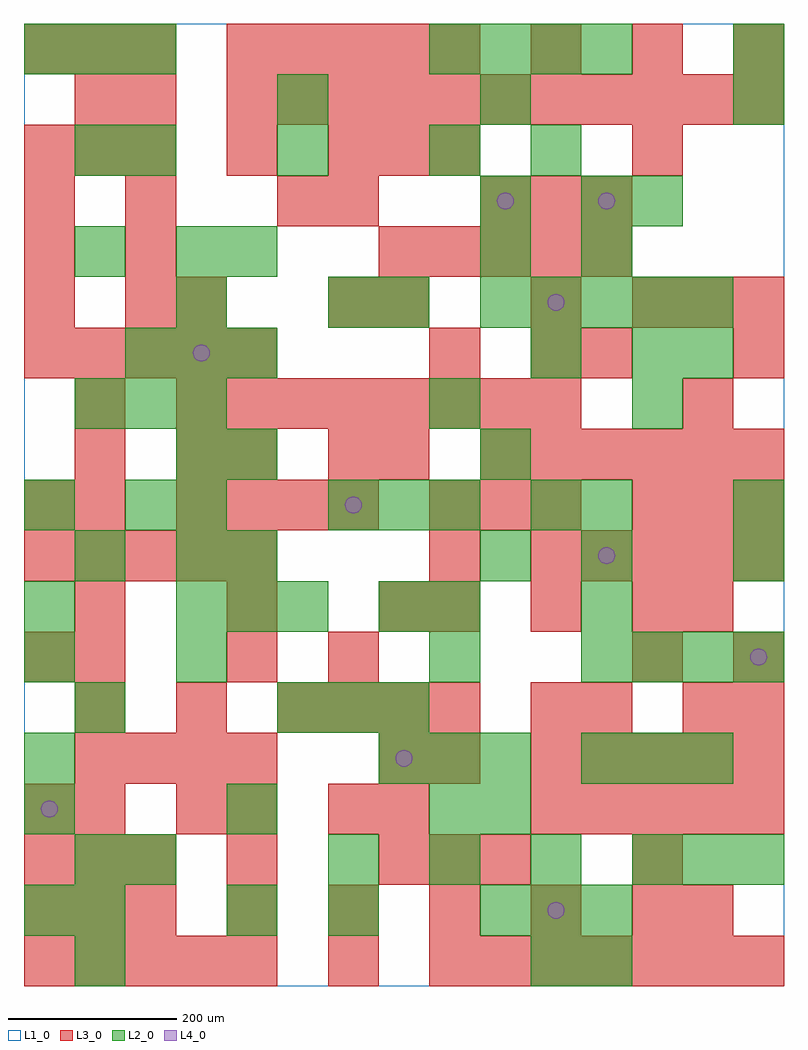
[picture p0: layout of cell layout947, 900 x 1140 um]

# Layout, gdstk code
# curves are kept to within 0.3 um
import gdstk
lib = gdstk.Library(unit=1e-6, precision=1e-09)
def R(c, l, rs):  # rectangles x0, y0, x1, y1
    for r in rs: c.add(gdstk.rectangle(r[:2], r[2:], *l))
def A(c, l, x, y, w, h, nx, ny, dx, dy):  # array of equal rectangles
    R(c, l, [(x+i*dx, y+j*dy, x+i*dx+w, y+j*dy+h) for i in range(nx) for j in range(ny)])
def P(c, l, *ps):  # polygons
    for p in ps: c.add(gdstk.Polygon(p, *l))
L1_0 = (1, 0)
L2_0 = (2, 0)
L3_0 = (3, 0)
L4_0 = (4, 0)

layout947 = lib.new_cell('layout947')
R(layout947, L1_0, [(0,0,900,1140)])
A(layout947, L2_0, 60, 0, 60, 60, 1, 3, 0, 60)
A(layout947, L2_0, 540, 60, 60, 60, 3, 1, 60, 0)
A(layout947, L2_0, 360, 120, 60, 60, 4, 1, 120, 0)
A(layout947, L2_0, 0, 180, 60, 60, 3, 1, 240, 0)
A(layout947, L2_0, 420, 240, 60, 60, 3, 1, 60, 0)
A(layout947, L2_0, 660, 240, 60, 60, 3, 1, 60, 0)
A(layout947, L2_0, 300, 300, 60, 60, 3, 1, 60, 0)
A(layout947, L2_0, 660, 360, 60, 60, 4, 1, 60, 0)
A(layout947, L2_0, 180, 420, 60, 60, 3, 1, 60, 0)
A(layout947, L2_0, 660, 420, 60, 60, 1, 3, 0, 60)
A(layout947, L2_0, 180, 480, 60, 60, 1, 3, 0, 60)
A(layout947, L2_0, 360, 540, 60, 60, 3, 1, 60, 0)
A(layout947, L2_0, 60, 660, 60, 60, 3, 1, 60, 0)
A(layout947, L2_0, 120, 720, 60, 60, 3, 1, 60, 0)
A(layout947, L2_0, 540, 780, 60, 60, 5, 1, 60, 0)
A(layout947, L2_0, 120, 960, 60, 60, 3, 1, 180, 0)
A(layout947, L2_0, 0, 1080, 60, 60, 3, 1, 60, 0)
A(layout947, L2_0, 480, 1080, 60, 60, 4, 1, 60, 0)
R(layout947, L2_0, [(600,0,660,60), (660,0,720,60), (0,60,60,120), (240,60,300,120), (360,60,420,120), (120,120,180,180), (780,120,840,180), (840,120,900,180), (540,180,600,240), (0,240,60,300), (60,300,120,360), (0,360,60,420), (180,360,240,420), (480,360,540,420), (0,420,60,480), (420,420,480,480), (480,420,540,480), (60,480,120,540), (240,480,300,540), (540,480,600,540), (840,480,900,540), (0,540,60,600), (120,540,180,600), (600,540,660,600), (840,540,900,600), (240,600,300,660), (540,600,600,660), (480,660,540,720), (720,660,780,720), (600,720,660,780), (720,720,780,780), (780,720,840,780), (180,780,240,840), (360,780,420,840), (420,780,480,840), (60,840,120,900), (180,840,240,900), (240,840,300,900), (540,840,600,900), (660,840,720,900), (540,900,600,960), (660,900,720,960), (720,900,780,960), (60,960,120,1020), (600,960,660,1020), (300,1020,360,1080), (540,1020,600,1080), (840,1020,900,1080), (840,1080,900,1140)])
A(layout947, L3_0, 0, 0, 60, 60, 5, 2, 60, 480)
A(layout947, L3_0, 360, 0, 60, 60, 1, 3, 0, 180)
A(layout947, L3_0, 480, 0, 60, 60, 7, 1, 60, 0)
A(layout947, L3_0, 0, 60, 60, 60, 3, 2, 60, 60)
A(layout947, L3_0, 240, 60, 60, 60, 5, 1, 120, 0)
A(layout947, L3_0, 420, 120, 60, 60, 3, 1, 60, 0)
A(layout947, L3_0, 0, 180, 60, 60, 1, 3, 0, 180)
A(layout947, L3_0, 60, 180, 60, 60, 1, 3, 0, 180)
A(layout947, L3_0, 600, 180, 60, 60, 5, 2, 60, 60)
A(layout947, L3_0, 60, 240, 60, 60, 4, 1, 60, 0)
A(layout947, L3_0, 480, 240, 60, 60, 1, 3, 0, 240)
A(layout947, L3_0, 60, 300, 60, 60, 3, 1, 120, 0)
A(layout947, L3_0, 360, 300, 60, 60, 3, 2, 60, 660)
A(layout947, L3_0, 60, 420, 60, 60, 3, 1, 180, 0)
A(layout947, L3_0, 480, 420, 60, 60, 3, 1, 120, 0)
A(layout947, L3_0, 600, 480, 60, 60, 5, 1, 60, 0)
A(layout947, L3_0, 180, 540, 60, 60, 4, 1, 60, 0)
A(layout947, L3_0, 480, 540, 60, 60, 3, 1, 60, 0)
A(layout947, L3_0, 720, 540, 60, 60, 3, 2, 60, 240)
A(layout947, L3_0, 540, 600, 60, 60, 6, 1, 60, 0)
A(layout947, L3_0, 180, 660, 60, 60, 8, 1, 60, 0)
A(layout947, L3_0, 0, 720, 60, 60, 5, 1, 60, 0)
A(layout947, L3_0, 0, 780, 60, 60, 1, 3, 0, 60)
A(layout947, L3_0, 120, 780, 60, 60, 1, 3, 0, 60)
A(layout947, L3_0, 420, 840, 60, 60, 5, 1, 60, 0)
A(layout947, L3_0, 540, 900, 60, 60, 3, 1, 60, 0)
A(layout947, L3_0, 0, 960, 60, 60, 3, 2, 60, 120)
A(layout947, L3_0, 240, 1020, 60, 60, 11, 1, 60, 0)
A(layout947, L3_0, 240, 1080, 60, 60, 5, 1, 60, 0)
A(layout947, L3_0, 600, 1080, 60, 60, 3, 1, 120, 0)
R(layout947, L3_0, [(780,60,840,120), (240,120,300,180), (720,120,780,180), (180,180,240,240), (240,180,300,240), (420,180,480,240), (420,240,480,300), (600,300,660,360), (660,300,720,360), (780,300,840,360), (840,300,900,360), (240,360,300,420), (720,360,780,420), (840,360,900,420), (780,420,840,480), (60,600,120,660), (180,600,240,660), (240,600,300,660), (360,600,420,660), (420,600,480,660), (60,660,120,720), (780,660,840,720), (600,720,660,780), (660,720,720,780), (840,720,900,780), (180,780,240,840), (360,780,420,840), (420,780,480,840), (600,780,660,840), (300,900,360,960), (360,900,420,960), (240,960,300,1020), (720,960,780,1020), (60,1020,120,1080), (120,1020,180,1080)])
P(layout947, L4_0, [(40,210),(39.239,213.827),(37.071,217.071),(33.827,219.239),(30,220),(26.173,219.239),(22.929,217.071),(20.761,213.827),(20,210),(20.761,206.173),(22.929,202.929),(26.173,200.761),(30,200),(33.827,200.761),(37.071,202.929),(39.239,206.173)],
  [(220,750),(219.239,753.827),(217.071,757.071),(213.827,759.239),(210,760),(206.173,759.239),(202.929,757.071),(200.761,753.827),(200,750),(200.761,746.173),(202.929,742.929),(206.173,740.761),(210,740),(213.827,740.761),(217.071,742.929),(219.239,746.173)],
  [(400,570),(399.239,573.827),(397.071,577.071),(393.827,579.239),(390,580),(386.173,579.239),(382.929,577.071),(380.761,573.827),(380,570),(380.761,566.173),(382.929,562.929),(386.173,560.761),(390,560),(393.827,560.761),(397.071,562.929),(399.239,566.173)],
  [(460,270),(459.239,273.827),(457.071,277.071),(453.827,279.239),(450,280),(446.173,279.239),(442.929,277.071),(440.761,273.827),(440,270),(440.761,266.173),(442.929,262.929),(446.173,260.761),(450,260),(453.827,260.761),(457.071,262.929),(459.239,266.173)],
  [(580,930),(579.239,933.827),(577.071,937.071),(573.827,939.239),(570,940),(566.173,939.239),(562.929,937.071),(560.761,933.827),(560,930),(560.761,926.173),(562.929,922.929),(566.173,920.761),(570,920),(573.827,920.761),(577.071,922.929),(579.239,926.173)],
  [(640,90),(639.239,93.827),(637.071,97.071),(633.827,99.239),(630,100),(626.173,99.239),(622.929,97.071),(620.761,93.827),(620,90),(620.761,86.173),(622.929,82.929),(626.173,80.761),(630,80),(633.827,80.761),(637.071,82.929),(639.239,86.173)],
  [(640,810),(639.239,813.827),(637.071,817.071),(633.827,819.239),(630,820),(626.173,819.239),(622.929,817.071),(620.761,813.827),(620,810),(620.761,806.173),(622.929,802.929),(626.173,800.761),(630,800),(633.827,800.761),(637.071,802.929),(639.239,806.173)],
  [(700,510),(699.239,513.827),(697.071,517.071),(693.827,519.239),(690,520),(686.173,519.239),(682.929,517.071),(680.761,513.827),(680,510),(680.761,506.173),(682.929,502.929),(686.173,500.761),(690,500),(693.827,500.761),(697.071,502.929),(699.239,506.173)],
  [(700,930),(699.239,933.827),(697.071,937.071),(693.827,939.239),(690,940),(686.173,939.239),(682.929,937.071),(680.761,933.827),(680,930),(680.761,926.173),(682.929,922.929),(686.173,920.761),(690,920),(693.827,920.761),(697.071,922.929),(699.239,926.173)],
  [(880,390),(879.239,393.827),(877.071,397.071),(873.827,399.239),(870,400),(866.173,399.239),(862.929,397.071),(860.761,393.827),(860,390),(860.761,386.173),(862.929,382.929),(866.173,380.761),(870,380),(873.827,380.761),(877.071,382.929),(879.239,386.173)])

lib.write_gds('layout947.gds')
